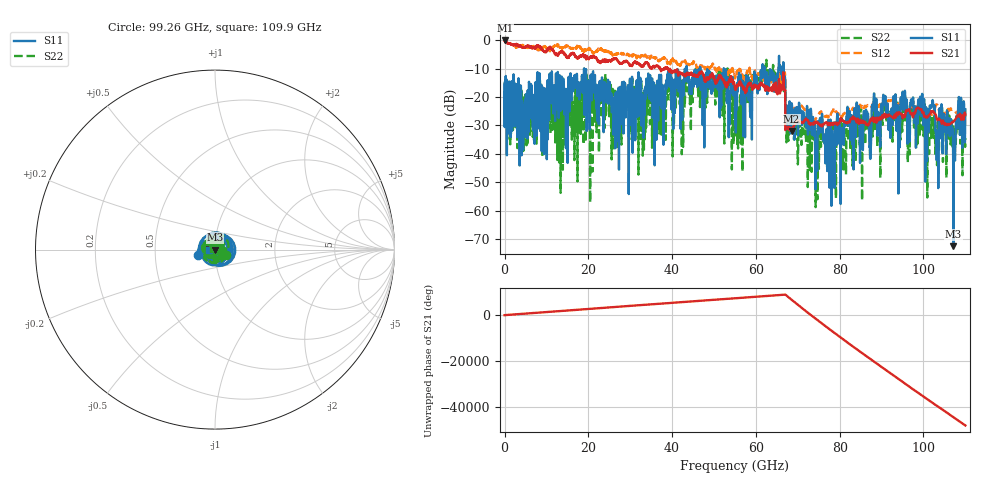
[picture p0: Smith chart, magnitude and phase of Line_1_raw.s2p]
#  HZ  S  RI  R  50.00
! Rohde & Schwarz ZVA67 4Ports - Version 4.11 - 1305.7002k04 SN: 101032
! Date: 2026-02-18 15:09:48
! Measurements: S11 S21 S12 S22
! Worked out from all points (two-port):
!   5500 points, 20 MHz to 110 GHz, reference 50 ohm
!   highest |S21| = -0.13 dB at 80 MHz (marker M1); lowest = -32.0 dB at 68.52 GHz (marker M2)
!   |S21| within 3 dB of the highest: start of sweep to 8.872 GHz; 10.4 GHz to 11.23 GHz (839.5 MHz wide, 7.76 % of centre)
!   lowest |S11| = -72.5 dB at 107.1 GHz (marker M3), VSWR 1.00, Z = 50 + j0.0226 ohm
!   |S11| at or under -10 dB: start of sweep to 43.38 GHz; 52.37 GHz to 61.52 GHz (9.154 GHz wide, 16.1 % of centre); 66.57 GHz to end of sweep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
!   |S22| runs from -58.8 to -7.0 dB; largest |S21 - S12| = 1.9
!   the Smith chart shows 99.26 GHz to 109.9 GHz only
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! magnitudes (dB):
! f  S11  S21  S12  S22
! 20 MHz  -15.0  -0.2  -0.5  -16.0
! 80 MHz  -23.0  -0.1  -0.3  -26.1
! 4.54 GHz  -28.7  -2.6  -1.8  -38.9
! 7.88 GHz  -11.3  -2.4  -3.4  -14.9
! 9.68 GHz  -26.6  -4.2  -2.3  -21.1
! 10.8 GHz  -13.6  -2.7  -3.4  -18.9
! 18.36 GHz  -16.6  -5.4  -2.9  -28.4
! 26.5 GHz  -30.7  -6.4  -5.0  -22.2
! 36.68 GHz  -26.0  -9.2  -7.0  -22.1
! 51.36 GHz  -27.2  -12.8  -10.8  -10.4
! 55.02 GHz  -25.7  -17.3  -13.5  -22.6
! 62.06 GHz  -9.4  -16.2  -14.3  -9.1
! 66.46 GHz  -13.3  -15.8  -15.3  -13.2
! 67.56 GHz  -24.2  -31.1  -24.3  -27.0
! 68.52 GHz  -22.3  -32.0  -24.9  -26.4
! 73.34 GHz  -32.9  -29.5  -28.0  -38.7
! 81.1 GHz  -28.7  -28.7  -26.0  -31.3
! 91.68 GHz  -31.6  -26.2  -21.1  -27.7
! 102.1 GHz  -21.6  -25.3  -26.1  -26.7
! 103.2 GHz  -40.6  -27.7  -22.8  -42.8
! 107.1 GHz  -72.5  -28.8  -24.6  -30.8
! 110 GHz  -24.4  -26.2  -27.0  -34.5
